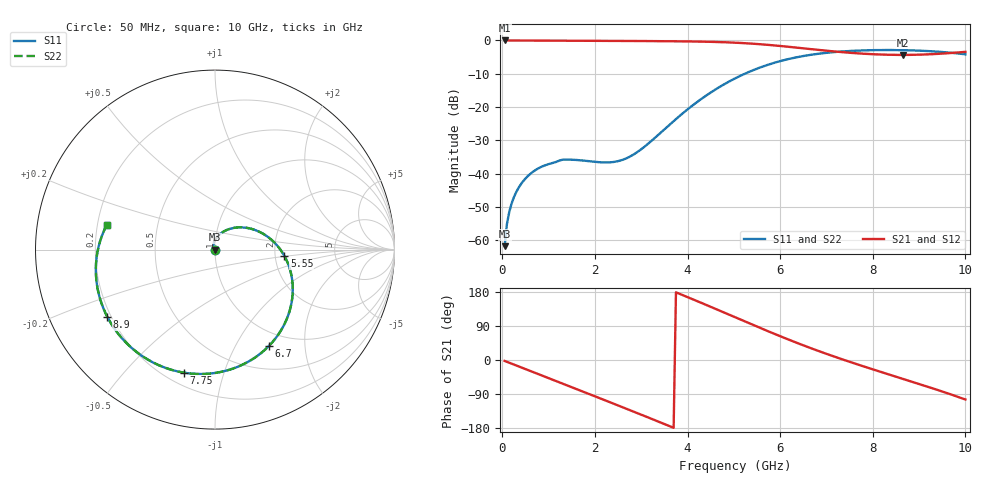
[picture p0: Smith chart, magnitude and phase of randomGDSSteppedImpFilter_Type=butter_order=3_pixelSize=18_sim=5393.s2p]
! freq	dB(S11)	phase(S11)	dB(S12)	phase(S12)
!  dB(S21)	phase(S21)	dB(S22)	phase(S22)
!S-par simulation data
#  GHz  S  DB  R 50
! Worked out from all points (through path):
!   200 points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, 50 MHz to 10 GHz, reference 50 ohm
!   highest |S21| = 0.00 dB at 50 MHz (marker M1); lowest = -4.3 dB at 8.65 GHz (marker M2)
!   group delay of S21, straight-line fit = 132 ps
!   lowest |S11| = -61.8 dB at 50 MHz (marker M3), VSWR 1.00, Z = 50 - j0.0755 ohm
!   |S11| at or under -10 dB: start of sweep to 5.236 GHz
!   |S22| runs from -61.8 to -2.9 dB; largest |S21 - S12| = 0
!   S11 on the Smith chart (normalised r, x): 50 MHz: 1.00, -0.00; 5.55 GHz: 2.25, -0.19; 6.7 GHz: 0.80, -1.38; 7.75 GHz: 0.27, -0.74; 8.9 GHz: 0.19, -0.28; 10 GHz: 0.24, +0.10
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0.05  -61.75 -67.4  -0.00 -2.4  -0.00 -2.4  -61.76 -67.4
0.1  -55.13 -81.5  -0.01 -4.8  -0.01 -4.8  -55.13 -81.5
0.2  -48.99 -93.6  -0.02 -9.6  -0.02 -9.6  -48.98 -93.6
0.5  -41.44 -113.7  -0.04 -23.9  -0.04 -23.9  -41.44 -113.6
1.25  -35.97 -157.4  -0.07 -59.8  -0.07 -59.8  -35.97 -157.2
1.75  -36.06 178.0  -0.09 -83.7  -0.09 -83.7  -36.07 178.5
2.15  -36.60 155.6  -0.12 -103.0  -0.12 -103.0  -36.62 156.3
2.6  -35.82 131.6  -0.14 -124.8  -0.14 -124.8  -35.85 132.6
3.4  -27.93 98.0  -0.21 -164.0  -0.21 -164.0  -27.94 98.5
3.8  -23.00 80.6  -0.26 176.1  -0.26 176.1  -23.00 81.0
4.2  -18.55 62.0  -0.33 155.8  -0.33 155.8  -18.55 62.2
5.05  -11.23 19.9  -0.68 111.7  -0.68 111.7  -11.23 20.0
5.55  -8.21 -5.3  -1.11 85.6  -1.11 85.6  -8.21 -5.3
6.15  -5.68 -35.0  -1.86 55.4  -1.86 55.4  -5.68 -34.9
6.7  -4.23 -60.6  -2.65 29.5  -2.65 29.5  -4.23 -60.6
7.25  -3.39 -84.3  -3.41 5.6  -3.41 5.6  -3.39 -84.3
7.75  -3.01 -104.4  -3.94 -14.8  -3.94 -14.8  -3.01 -104.4
8.35  -2.87 -127.3  -4.30 -38.2  -4.30 -38.2  -2.87 -127.3
8.65  -2.92 -138.6  -4.34 -49.7  -4.34 -49.7  -2.92 -138.6
8.9  -3.01 -148.0  -4.31 -59.4  -4.31 -59.4  -3.01 -148.0
9.45  -3.41 -169.5  -3.99 -81.1  -3.99 -81.1  -3.41 -169.6
10  -4.17 167.4  -3.42 -104.3  -3.42 -104.3  -4.17 167.3
